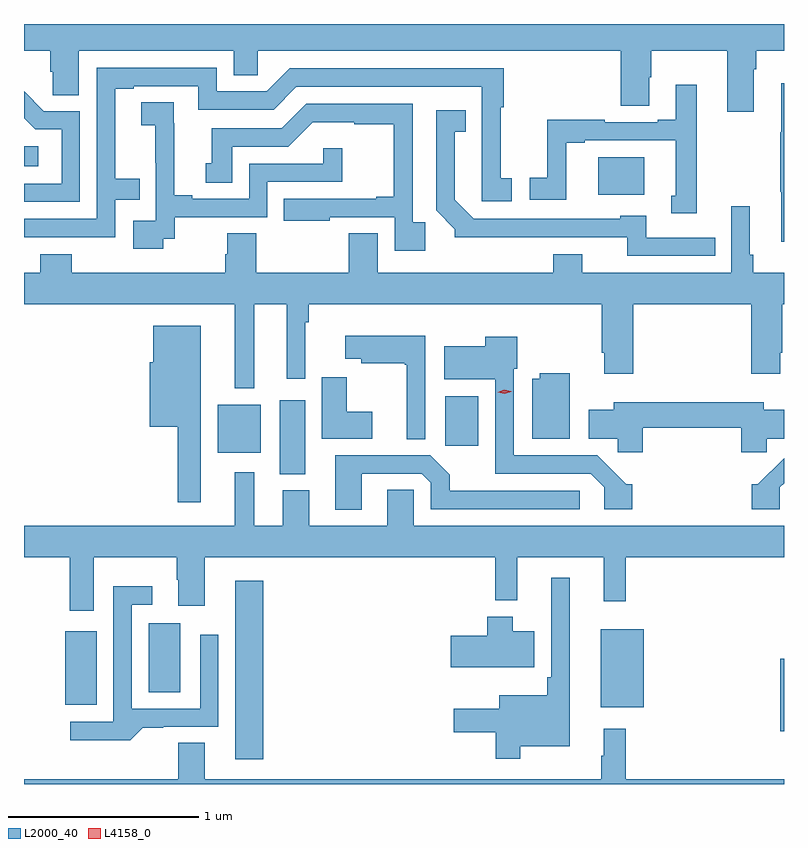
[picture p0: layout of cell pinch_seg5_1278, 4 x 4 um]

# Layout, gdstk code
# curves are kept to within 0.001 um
import gdstk
lib = gdstk.Library(unit=1e-6, precision=1e-09)
def R(c, l, rs):  # rectangles x0, y0, x1, y1
    for r in rs: c.add(gdstk.rectangle(r[:2], r[2:], *l))
def P(c, l, *ps):  # polygons
    for p in ps: c.add(gdstk.Polygon(p, *l))
L2000_40 = (2000, 40)
L4158_0 = (4158, 0)

pinch_seg5_1278 = lib.new_cell('pinch_seg5_1278')
R(pinch_seg5_1278, L2000_40, [(396.008,845.04,396.155,845.98), (398.876,845.187,398.896,845.568), (397.931,845.315,398.158,845.725), (395.114,845.327,395.278,845.713), (395.552,845.392,395.719,845.755), (396.242,846.541,396.376,846.931), (395.915,846.653,396.142,846.907), (397.112,846.689,397.288,846.952), (397.919,848.012,398.161,848.209), (394.896,848.162,394.972,848.266)])
P(pinch_seg5_1278, L2000_40, [(398.737,848.672),(398.75,848.672),(398.75,848.768),(398.896,848.768),(398.896,848.91),(394.896,848.91),(394.896,848.768),(395.033,848.768),(395.033,848.659),(395.046,848.659),(395.046,848.536),(395.185,848.536),(395.185,848.768),(395.999,848.768),(395.999,848.641),(396.126,848.641),(396.126,848.768),(398.036,848.768),(398.036,848.479),(398.188,848.479),(398.188,848.63),(398.196,848.63),(398.196,848.768),(398.597,848.768),(398.597,848.448),(398.737,848.448)],
  [(394.898,847.788),(395.376,847.788),(395.376,847.986),(395.504,847.986),(395.504,848.095),(395.377,848.095),(395.377,848.568),(395.473,848.568),(395.473,848.583),(395.814,848.583),(395.814,848.46),(396.21,848.46),(396.33,848.58),(397.305,848.58),(397.304,847.977),(397.462,847.977),(397.462,848.097),(397.404,848.097),(397.404,848.473),(397.421,848.473),(397.421,848.676),(396.294,848.676),(396.174,848.556),(395.91,848.556),(395.91,848.679),(395.28,848.679),(395.28,847.884),(394.896,847.884),(394.896,847.787)],
  [(398.896,848.599),(398.882,848.599),(398.882,848.341),(398.875,848.341),(398.875,848.027),(398.882,848.027),(398.882,847.764),(398.896,847.764)],
  [(398.437,848.59),(398.327,848.59),(398.327,848.407),(398.231,848.407),(398.231,848.394),(397.952,848.394),(397.952,848.407),(397.651,848.407),(397.651,848.102),(397.557,848.102),(397.557,847.986),(397.75,847.986),(397.75,848.286),(397.846,848.286),(397.846,848.298),(398.327,848.298),(398.327,848.007),(398.303,848.007),(398.303,847.913),(398.437,847.913)],
  [(395.19,848.451),(395.001,848.451),(394.896,848.556),(394.896,848.415),(394.956,848.355),(395.094,848.355),(395.094,848.07),(394.896,848.07),(394.896,847.974),(395.19,847.974)],
  [(395.628,847.779),(395.69,847.779),(395.69,847.893),(396.177,847.893),(396.177,848.079),(396.572,848.079),(396.572,848.257),(396.471,848.257),(396.471,848.175),(396.081,848.175),(396.081,847.989),(395.782,847.989),(395.782,848.009),(395.686,848.009),(395.686,848.387),(395.684,848.387),(395.684,848.498),(395.514,848.498),(395.514,848.377),(395.588,848.377),(395.588,848.179),(395.589,848.179),(395.589,847.875),(395.472,847.875),(395.472,847.728),(395.628,847.728)],
  [(397.007,847.867),(396.942,847.867),(396.942,848.49),(396.381,848.49),(396.252,848.361),(395.885,848.361),(395.885,848.178),(395.852,848.178),(395.852,848.074),(395.992,848.074),(395.992,848.265),(396.288,848.265),(396.416,848.393),(396.635,848.393),(396.635,848.382),(396.841,848.382),(396.841,848.002),(396.749,848.002),(396.749,847.989),(396.262,847.989),(396.262,847.874),(396.505,847.874),(396.505,847.893),(396.846,847.893),(396.846,847.716),(397.007,847.716)],
  [(398.534,847.785),(398.17,847.785),(398.17,847.9),(398.034,847.9),(398.034,847.884),(397.263,847.884),(397.162,847.985),(397.162,848.342),(397.22,848.342),(397.22,848.455),(397.065,848.455),(397.065,847.93),(397.164,847.831),(397.164,847.787),(398.071,847.788),(398.071,847.689),(398.534,847.689)],
  [(396.109,847.436),(396.278,847.436),(396.278,847.044),(396.377,847.044),(396.377,847.34),(396.395,847.34),(396.395,847.436),(397.937,847.436),(397.937,847.18),(397.949,847.18),(397.949,847.068),(398.102,847.068),(398.102,847.436),(398.723,847.436),(398.723,847.068),(398.875,847.068),(398.875,847.18),(398.888,847.18),(398.888,847.436),(398.896,847.436),(398.896,847.6),(398.735,847.6),(398.735,847.696),(398.716,847.696),(398.716,847.951),(398.619,847.951),(398.619,847.6),(397.834,847.6),(397.834,847.699),(397.682,847.699),(397.682,847.6),(396.757,847.6),(396.757,847.808),(396.605,847.808),(396.605,847.6),(396.119,847.6),(396.119,847.808),(395.966,847.808),(395.966,847.698),(395.954,847.698),(395.954,847.6),(395.147,847.6),(395.147,847.699),(394.982,847.699),(394.982,847.6),(394.896,847.6),(394.896,847.436),(396.005,847.436),(396.005,846.992),(396.109,846.992)],
  [(395.827,847.321),(395.576,847.321),(395.576,847.131),(395.558,847.131),(395.558,846.791),(395.706,846.791),(395.706,846.393),(395.827,846.393)],
  [(397.008,847.27),(396.588,847.27),(396.588,847.148),(396.672,847.148),(396.672,847.124),(396.9,847.124),(396.9,847.117),(396.911,847.117),(396.911,846.724),(397.008,846.724)],
  [(398.098,846.487),(398.066,846.487),(397.914,846.639),(397.473,846.639),(397.473,847.095),(397.492,847.095),(397.492,847.264),(397.324,847.264),(397.324,847.213),(397.109,847.213),(397.109,847.04),(397.377,847.04),(397.377,846.543),(397.878,846.543),(397.95,846.471),(397.95,846.357),(398.098,846.357)],
  [(397.768,847.072),(397.61,847.072),(397.61,847.042),(397.571,847.042),(397.571,846.728),(397.768,846.728)],
  [(396.73,846.868),(396.594,846.868),(396.594,847.051),(396.464,847.051),(396.464,846.728),(396.73,846.728)],
  [(398.153,846.784),(398.672,846.784),(398.672,846.656),(398.804,846.656),(398.804,846.728),(398.896,846.728),(398.896,846.88),(398.79,846.88),(398.79,846.92),(398,846.92),(398,846.88),(397.869,846.88),(397.869,846.728),(398.02,846.728),(398.02,846.656),(398.153,846.656)],
  [(396.673,846.543),(396.99,846.543),(397.038,846.495),(397.038,846.357),(397.822,846.357),(397.822,846.453),(397.137,846.453),(397.137,846.537),(397.035,846.639),(396.533,846.639),(396.533,846.354),(396.673,846.354)],
  [(398.874,846.471),(398.896,846.493),(398.896,846.625),(398.758,846.487),(398.727,846.487),(398.727,846.357),(398.874,846.357)],
  [(395.263,846.104),(395.701,846.104),(395.701,845.984),(395.708,845.984),(395.708,845.847),(395.848,845.847),(395.848,846.104),(397.375,846.104),(397.375,845.876),(397.493,845.876),(397.493,846.104),(397.946,846.104),(397.946,845.871),(398.063,845.871),(398.063,846.104),(398.896,846.104),(398.896,846.268),(396.948,846.268),(396.948,846.458),(396.809,846.458),(396.809,846.268),(396.397,846.268),(396.397,846.456),(396.257,846.456),(396.257,846.268),(396.109,846.268),(396.109,846.55),(396.005,846.55),(396.005,846.268),(394.896,846.268),(394.896,846.104),(395.138,846.104),(395.138,845.823),(395.263,845.823)],
  [(397.507,845.108),(397.768,845.108),(397.768,845.995),(397.671,845.995),(397.671,845.473),(397.651,845.473),(397.651,845.377),(397.397,845.377),(397.397,845.305),(397.158,845.305),(397.158,845.183),(397.378,845.183),(397.378,845.043),(397.507,845.043)],
  [(395.521,845.206),(395.629,845.206),(395.629,845.211),(395.919,845.211),(395.919,845.695),(395.823,845.695),(395.823,845.307),(395.463,845.307),(395.463,845.853),(395.572,845.853),(395.572,845.95),(395.367,845.95),(395.367,845.238),(395.139,845.238),(395.139,845.141),(395.456,845.141)],
  [(397.582,845.713),(397.468,845.713),(397.468,845.791),(397.334,845.791),(397.334,845.691),(397.143,845.691),(397.143,845.525),(397.582,845.525)],
  [(398.896,844.936),(398.063,844.936),(398.063,845.2),(397.946,845.2),(397.946,845.06),(397.935,845.06),(397.935,844.936),(395.848,844.936),(395.848,845.126),(395.708,845.126),(395.708,844.936),(394.896,844.936),(394.896,844.91),(398.896,844.91)])
P(pinch_seg5_1278, L4158_0, [(397.425,846.964),(397.389,846.972),(397.389,846.973),(397.389,846.973),(397.424,846.984),(397.461,846.976),(397.461,846.975),(397.461,846.975)])

lib.write_gds('pinch_seg5_1278.gds')
